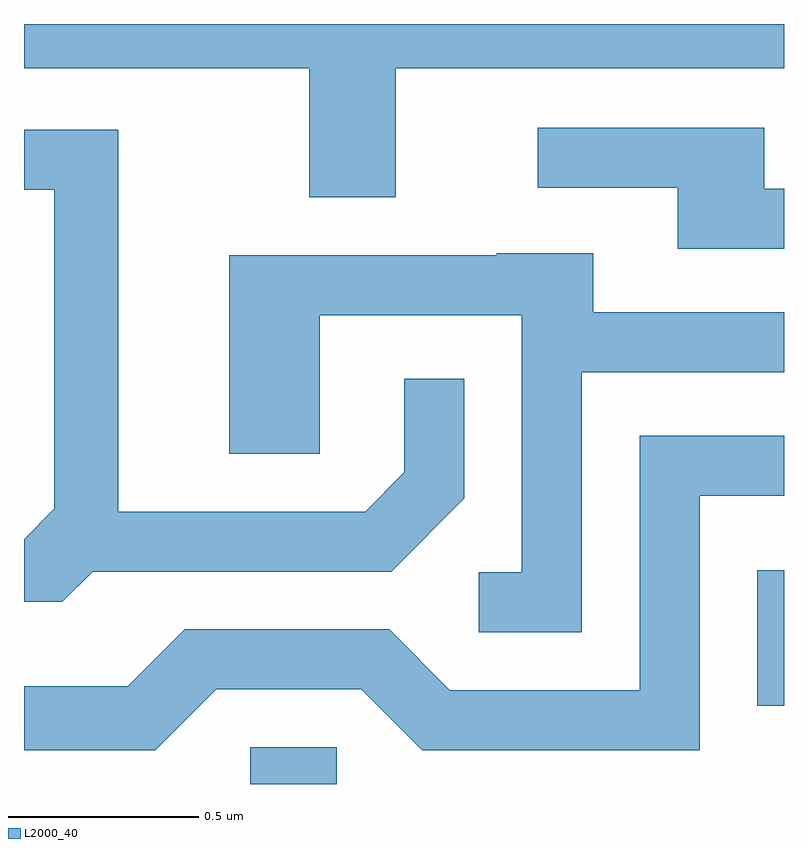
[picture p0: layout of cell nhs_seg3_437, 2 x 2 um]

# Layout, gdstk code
import gdstk
lib = gdstk.Library(unit=1e-6, precision=1e-09)
def R(c, l, rs):  # rectangles x0, y0, x1, y1
    for r in rs: c.add(gdstk.rectangle(r[:2], r[2:], *l))
def P(c, l, *ps):  # polygons
    for p in ps: c.add(gdstk.Polygon(p, *l))
L2000_40 = (2000, 40)

nhs_seg3_437 = lib.new_cell('nhs_seg3_437')
R(nhs_seg3_437, L2000_40, [(189.206,1141.892,189.434,1141.989), (190.541,1142.098,190.611,1142.454)])
P(nhs_seg3_437, L2000_40, [(189.589,1143.776),(190.611,1143.776),(190.611,1143.892),(188.611,1143.892),(188.611,1143.776),(189.361,1143.776),(189.361,1143.436),(189.589,1143.436)],
  [(190.611,1143.459),(190.559,1143.459),(190.559,1143.619),(189.963,1143.619),(189.963,1143.461),(190.331,1143.461),(190.331,1143.301),(190.611,1143.301)],
  [(188.792,1142.451),(189.577,1142.451),(189.769,1142.644),(189.769,1142.958),(189.611,1142.958),(189.611,1142.712),(189.509,1142.609),(188.859,1142.609),(188.859,1143.614),(188.611,1143.614),(188.611,1143.456),(188.691,1143.456),(188.691,1142.617),(188.611,1142.536),(188.611,1142.371),(188.712,1142.371)],
  [(190.079,1142.976),(190.611,1142.976),(190.611,1143.134),(190.109,1143.134),(190.109,1143.289),(189.855,1143.289),(189.855,1143.284),(189.151,1143.284),(189.151,1142.761),(189.389,1142.761),(189.389,1143.126),(189.921,1143.126),(189.921,1142.449),(189.808,1142.449),(189.808,1142.291),(190.079,1142.291)],
  [(189.117,1142.141),(189.499,1142.141),(189.659,1141.981),(190.389,1141.981),(190.389,1142.651),(190.611,1142.651),(190.611,1142.809),(190.231,1142.809),(190.231,1142.139),(189.732,1142.139),(189.572,1142.299),(189.034,1142.299),(188.884,1142.149),(188.611,1142.149),(188.611,1141.981),(188.957,1141.981)])

lib.write_gds('nhs_seg3_437.gds')
